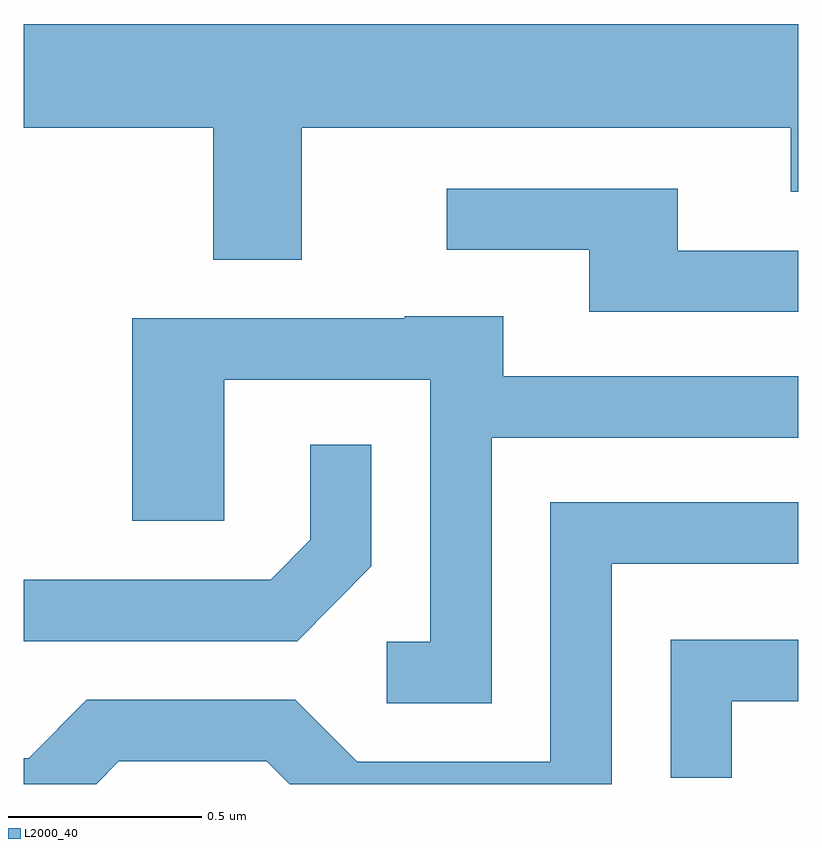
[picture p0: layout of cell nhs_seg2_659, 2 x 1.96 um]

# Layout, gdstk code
import gdstk
lib = gdstk.Library(unit=1e-6, precision=1e-09)
def P(c, l, *ps):  # polygons
    for p in ps: c.add(gdstk.Polygon(p, *l))
L2000_40 = (2000, 40)

nhs_seg2_659 = lib.new_cell('nhs_seg2_659')
P(nhs_seg2_659, L2000_40, [(190.329,1090.496),(191.591,1090.496),(191.591,1090.331),(191.611,1090.331),(191.611,1090.764),(189.611,1090.764),(189.611,1090.496),(190.101,1090.496),(190.101,1090.156),(190.329,1090.156)],
  [(191.611,1090.179),(191.299,1090.179),(191.299,1090.339),(190.703,1090.339),(190.703,1090.181),(191.071,1090.181),(191.071,1090.021),(191.611,1090.021)],
  [(190.819,1089.696),(191.611,1089.696),(191.611,1089.854),(190.849,1089.854),(190.849,1090.009),(190.595,1090.009),(190.595,1090.004),(189.891,1090.004),(189.891,1089.481),(190.129,1089.481),(190.129,1089.846),(190.661,1089.846),(190.661,1089.169),(190.548,1089.169),(190.548,1089.011),(190.819,1089.011)],
  [(190.509,1089.364),(190.509,1089.678),(190.351,1089.678),(190.351,1089.432),(190.249,1089.329),(189.611,1089.329),(189.611,1089.171),(190.317,1089.171)],
  [(189.857,1088.861),(190.239,1088.861),(190.298,1088.802),(191.129,1088.802),(191.129,1089.371),(191.611,1089.371),(191.611,1089.529),(190.971,1089.529),(190.971,1088.859),(190.472,1088.859),(190.312,1089.019),(189.774,1089.019),(189.624,1088.869),(189.611,1088.869),(189.611,1088.802),(189.798,1088.802)],
  [(191.439,1089.016),(191.611,1089.016),(191.611,1089.174),(191.281,1089.174),(191.281,1088.818),(191.439,1088.818)])

lib.write_gds('nhs_seg2_659.gds')
